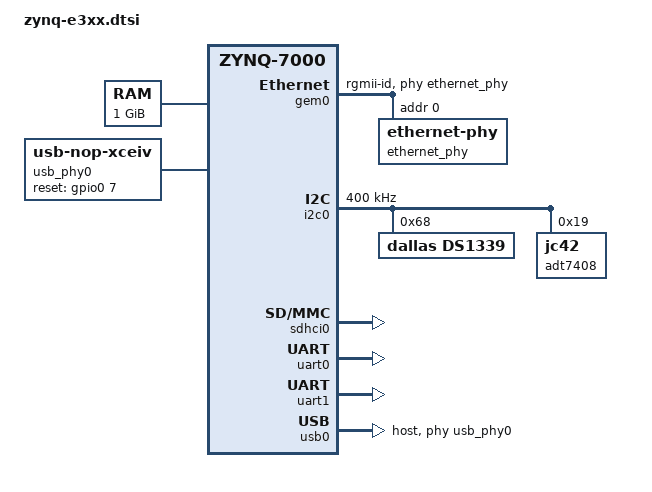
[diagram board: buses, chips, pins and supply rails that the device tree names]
/*
 *  Copyright (C) 2011 - 2014 Xilinx
 *  Copyright (C) 2012 National Instruments Corp.
 *
 * This software is licensed under the terms of the GNU General Public
 * License version 2, as published by the Free Software Foundation, and
 * may be copied, distributed, and modified under those terms.
 *
 * This program is distributed in the hope that it will be useful,
 * but WITHOUT ANY WARRANTY; without even the implied warranty of
 * MERCHANTABILITY or FITNESS FOR A PARTICULAR PURPOSE.  See the
 * GNU General Public License for more details.
 */
/include/ "zynq-7000.dtsi"

/ {

	aliases {
		ethernet0 = &gem0;
		i2c0 = &i2c0;
		serial0 = &uart0;
		serial1 = &uart1;
	};

	memory {
		device_type = "memory";
		reg = <0x0 0x40000000>;
	};

	chosen {
 		bootargs = "root=/dev/mmcblk0p2 rootwait ro earlycon";
		stdout-path = "serial0:115200n8";
	};

	usb_phy0: phy0 {
		compatible = "usb-nop-xceiv";
		#phy-cells = <0>;
		reset-gpios = <&gpio0 7 0>;
	};
};

&clkc {
	ps-clk-frequency = <33333333>;
};

&gem0 {
	status = "okay";
	phy-mode = "rgmii-id";
	phy-handle = <&ethernet_phy>;

	ethernet_phy: ethernet-phy@7 {
		reg = <0>;
	};
};

&i2c0 {
	status = "okay";
	clock-frequency = <400000>;

	ds1339: rtc@68 {
		compatible = "dallas,ds1339";
		reg = <0x68>;
	};

	adt7408: temp@19 {
		compatible = "jc42";
		reg = <0x19>;
	};

};

&pinctrl0 {

	pinctrl_gem0_default: gem0-default {
		mux {
			function = "ethernet0";
			groups = "ethernet0_0_grp";
		};

		conf {
			groups = "ethernet0_0_grp";
			slew-rate = <0>;
			io-standard = <4>;
		};

		conf-rx {
			pins = "MIO22", "MIO23", "MIO24", "MIO25", "MIO26", "MIO27";
			bias-high-impedance;
			low-power-disable;
		};

		conf-tx {
			pins = "MIO16", "MIO17", "MIO18", "MIO19", "MIO20", "MIO21";
			bias-disable;
			low-power-enable;
		};

		mux-mdio {
			function = "mdio0";
			groups = "mdio0_0_grp";
		};

		conf-mdio {
			groups = "mdio0_0_grp";
			slew-rate = <0>;
			io-standard = <1>;
			bias-disable;
		};
	};

	pinctrl_i2c0_default: i2c0-default {
		mux {
			groups = "i2c0_10_grp";
			function = "i2c0";
		};

		conf {
			groups = "i2c0_10_grp";
			bias-pull-up;
			slew-rate = <0>;
			io-standard = <1>;
		};
	};

	pinctrl_sdhci0_default: sdhci0-default {
		mux {
			groups = "sdio0_2_grp";
			function = "sdio0";
		};

		conf {
			groups = "sdio0_2_grp";
			slew-rate = <0>;
			io-standard = <1>;
			bias-disable;
		};

		mux-cd {
			groups = "gpio0_0_grp";
			function = "sdio0_cd";
		};

		conf-cd {
			groups = "gpio0_0_grp";
			bias-high-impedance;
			bias-pull-up;
			slew-rate = <0>;
			io-standard = <1>;
		};

		mux-wp {
			groups = "gpio0_15_grp";
			function = "sdio0_wp";
		};

		conf-wp {
			groups = "gpio0_15_grp";
			bias-high-impedance;
			bias-pull-up;
			slew-rate = <0>;
			io-standard = <1>;
		};
	};

	pinctrl_uart1_default: uart1-default {
		mux {
			groups = "uart1_10_grp";
			function = "uart1";
		};

		conf {
			groups = "uart1_10_grp";
			slew-rate = <0>;
			io-standard = <1>;
		};

		conf-rx {
			pins = "MIO49";
			bias-high-impedance;
		};

		conf-tx {
			pins = "MIO48";
			bias-disable;
		};
	};

	pinctrl_usb0_default: usb0-default {
		mux {
			groups = "usb0_0_grp";
			function = "usb0";
		};

		conf {
			groups = "usb0_0_grp";
			slew-rate = <0>;
			io-standard = <1>;
		};

		conf-rx {
			pins = "MIO29", "MIO31", "MIO36";
			bias-high-impedance;
		};

		conf-tx {
			pins = "MIO28", "MIO30", "MIO32", "MIO33", "MIO34",
			       "MIO35", "MIO37", "MIO38", "MIO39";
			bias-disable;
		};
	};
};

&sdhci0 {
	status = "okay";
	disable-wp;
/*
	pinctrl-names = "default";
	pinctrl-0 = <&pinctrl_sdhci0_default>;
*/
};

&uart0 {
	status = "okay";
};

&uart1 {
	status = "okay";
};

&usb0 {
	status = "okay";
	dr_mode = "host";
	usb-phy = <&usb_phy0>;
};
